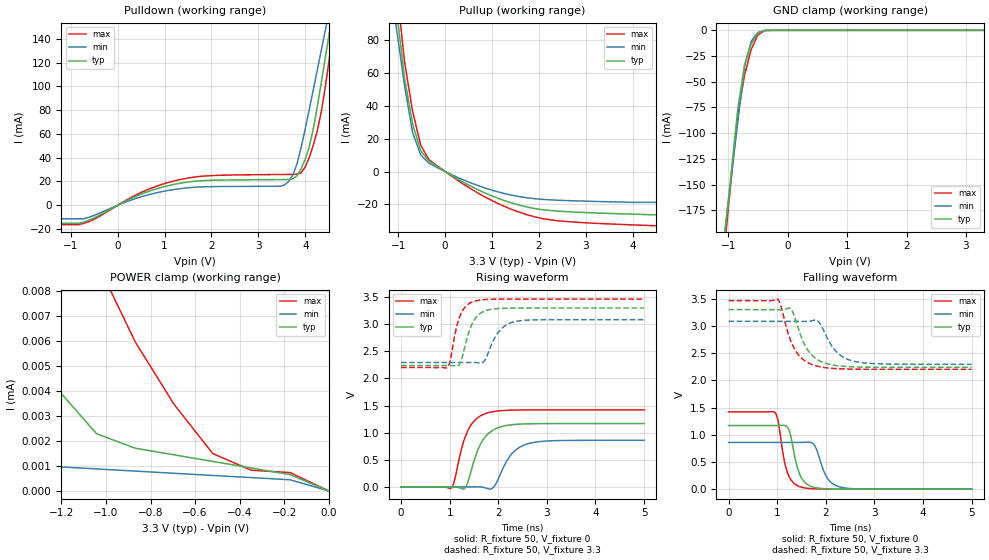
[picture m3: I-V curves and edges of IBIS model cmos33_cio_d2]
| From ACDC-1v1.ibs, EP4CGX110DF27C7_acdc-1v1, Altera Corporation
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[Model]   cmos33_cio_d2
Model_type  I/O
Polarity   Non-Inverting
Enable Active-Low
Vinl   = 0.8
Vinh   = 1.7
Vmeas  = 1.5425
Rref   = 10M
Cref   = 0pF
Vref   = 0
| C_comp values for normal column I/O
C_comp 4.7pF   4.7pF   4.7pF
[Temperature Range] 25   85   0
[Voltage Range]  3.3   3.085   3.465
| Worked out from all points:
|   slope of the pulldown table from 0 to 0.495 V, typ, clamps not added: 53.2 ohm
|   slope of the pullup table from 0 to 0.495 V, typ, clamps not added: 60.8 ohm
|   GND clamp passes 1 mA (typ) near -0.43 V on its own axis
|   rising waveform, R_fixture 50, V_fixture 0: 20-80 % time 321ps typ, 356ps min, 296ps max; typ from 0 V to 1.17 V
|   falling waveform, R_fixture 50, V_fixture 0: 20-80 % time 196ps typ, 232ps min, 180ps max; typ from 1.17 V to 0 V
|   rising waveform, R_fixture 50, V_fixture 3.3: 20-80 % time 236ps typ, 293ps min, 203ps max; typ from 2.24 V to 3.3 V
|   falling waveform, R_fixture 50, V_fixture 3.3: 20-80 % time 339ps typ, 364ps min, 328ps max; typ from 3.3 V to 2.24 V
[GND Clamp]
| voltage   I (typ)   I (min)   I (max)
-3.3V     -1.449A    -1.286A    -1.533A
-1.063V   -200.8mA   -197.7mA   -211mA
-950.8mV  -138.4mA   -143.3mA   -144.9mA
-839mV    -75.96mA   -88.9mA    -82.12mA
-727.1mV  -34.33mA   -34.92mA   -43.75mA
-615.2mV  -13.39mA   -10.72mA   -18.82mA
-503.4mV  -2.65mA    -2.136mA   -4.609mA
-391.5mV  -131.9uA   -144.3uA   -303.1uA
-279.7mV  -2.49uA    -5.277uA   -4.788uA
3.3V      0A         0A         0A
[Pulldown]
| voltage   I (typ)   I (min)   I (max)
-3.3V     -15.12mA   -11.37mA   -16.31mA
-839mV    -15.12mA   -11.37mA   -16.31mA
1.175V    17.34mA    13.09mA    20.17mA
3.561V    21.62mA    17.11mA    25.92mA
3.821V    24.78mA    34.61mA    26.1mA
3.995V    38.42mA    63.65mA    31.96mA
4.082V    48.77mA    80.04mA    39.87mA
4.255V    83.01mA    113.7mA    62.76mA
4.429V    124.7mA    147.5mA    100.3mA
4.516V    145.9mA    164.4mA    124.2mA
4.603V    167mA      181.1mA    148.8mA
6.6V      591.7mA    546.3mA    630.5mA
[POWER Clamp]
| voltage   I (typ)   I (min)   I (max)
-3.3V     255.8uA    175.1uA    336.4uA
-1.911V   28.02uA    11.33uA    68.36uA
-1.737V   18.02uA    7.04uA     38.8uA
-1.563V   11.7uA     3.882uA    27.62uA
-1.389V   7.021uA    1.877uA    19.48uA
-1.216V   4.054uA    967.3nA    13.41uA
-1.042V   2.289uA    880.7nA    9.183uA
-868.4mV  1.71uA     793.9nA    5.962uA
-521.1mV  1.182uA    620.2nA    1.498uA
-347.4mV  917.5nA    533.4nA    827.9nA
-173.7mV  653.5nA    446.5nA    734.1nA
0V        0A         0A         0A
[Pullup]
| voltage   I (typ)   I (min)   I (max)
-3.3V     685mA      558.7mA    791.1mA
-1.042V   99.58mA    87.78mA    114.8mA
-868.4mV  57.09mA    52.6mA     67.09mA
-694.7mV  29.01mA    23.75mA    36.63mA
-521.1mV  12.63mA    10.09mA    16.03mA
-347.4mV  6.393mA    5.142mA    7.369mA
173.7mV   -3.033mA   -2.372mA   -3.54mA
694.7mV   -11.02mA   -8.485mA   -13.01mA
1.563V    -20.29mA   -15.15mA   -24.58mA
2.258V    -23.74mA   -17.24mA   -29.46mA
4.586V    -26.28mA   -18.71mA   -33.1mA
6.6V      -26.28mA   -18.71mA   -33.11mA
[Ramp]
dV/dt_r   7.014e-001/3.212e-010  5.157e-001/3.559e-010  8.526e-001/2.961e-010
dV/dt_f   6.366e-001/3.389e-010  4.740e-001/3.636e-010  7.572e-001/3.285e-010
R_load = 50ohms
[Rising Waveform]
R_fixture   = 50
V_fixture   = 0
V_fixture_min = 0
V_fixture_max = 0
| time   V (typ)   V (min)   V (max)
0s        0V         612.8nV    0V
1.016ns   -389.5uV   -226uV     -32.84mV
1.104ns   2.094mV    -205.6uV   134.7mV
1.326ns   -13.73mV   -363uV     939.1mV
1.592ns   709.3mV    1.982mV    1.286V
1.769ns   960.4mV    -28.82mV   1.363V
1.902ns   1.052V     -7.813mV   1.389V
2.301ns   1.148V     633.3mV    1.416V
2.611ns   1.163V     795.8mV    1.42V
5ns       1.169V     859.5mV    1.421V
[Falling Waveform]
R_fixture   = 50
V_fixture   = 0
V_fixture_min = 0
V_fixture_max = 0
| time   V (typ)   V (min)   V (max)
0s        1.169V     859.6mV    1.421V
971.5ps   1.169V     859.5mV    1.394V
1.016ns   1.169V     859.5mV    1.279V
1.193ns   1.158V     859.3mV    351.2mV
1.282ns   974.2mV    859.3mV    172.7mV
1.459ns   282mV      859.8mV    48.07mV
1.769ns   32.34mV    805.3mV    6.196mV
2.035ns   5.867mV    200.3mV    1.126mV
2.301ns   1.092mV    38.12mV    209.1uV
5ns       7.467uV    8.908uV    6.937uV
[Rising Waveform]
R_fixture   = 50
V_fixture   = 3.3
V_fixture_min = 3.085
V_fixture_max = 3.465
| time   V (typ)   V (min)   V (max)
0s        2.239V     2.295V     2.203V
971.5ps   2.238V     2.295V     2.22V
1.016ns   2.239V     2.295V     2.338V
1.193ns   2.247V     2.295V     3.109V
1.326ns   2.638V     2.294V     3.326V
1.503ns   3.076V     2.295V     3.424V
1.725ns   3.248V     2.335V     3.456V
1.991ns   3.29V      2.838V     3.463V
2.301ns   3.298V     3.04V      3.464V
5ns       3.3V       3.085V     3.465V
[Falling Waveform]
R_fixture   = 50
V_fixture   = 3.3
V_fixture_min = 3.085
V_fixture_max = 3.465
| time   V (typ)   V (min)   V (max)
0s        3.3V       3.085V     3.465V
1.016ns   3.298V     3.084V     3.494V
1.282ns   3.319V     3.084V     2.722V
1.37ns    3.138V     3.084V     2.557V
1.548ns   2.688V     3.083V     2.374V
1.769ns   2.418V     3.109V     2.274V
1.858ns   2.365V     3.075V     2.253V
2.212ns   2.272V     2.532V     2.215V
2.567ns   2.248V     2.353V     2.206V
5ns       2.239V     2.295V     2.203V
